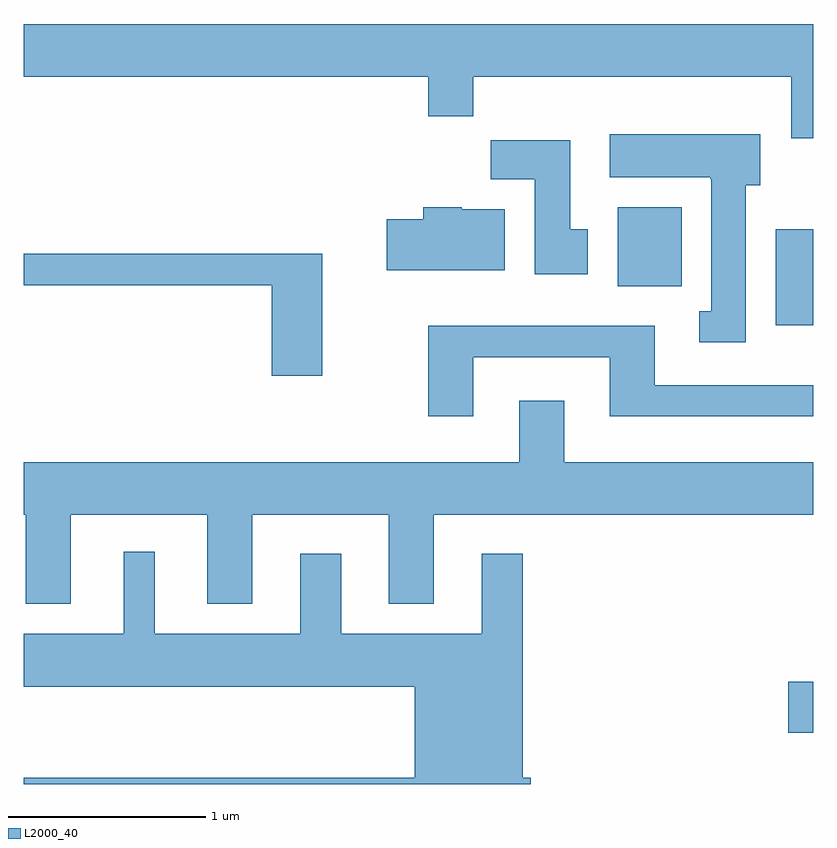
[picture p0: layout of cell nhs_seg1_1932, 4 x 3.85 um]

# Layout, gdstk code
import gdstk
lib = gdstk.Library(unit=1e-6, precision=1e-09)
def R(c, l, rs):  # rectangles x0, y0, x1, y1
    for r in rs: c.add(gdstk.rectangle(r[:2], r[2:], *l))
def P(c, l, *ps):  # polygons
    for p in ps: c.add(gdstk.Polygon(p, *l))
L2000_40 = (2000, 40)

nhs_seg1_1932 = lib.new_cell('nhs_seg1_1932')
R(nhs_seg1_1932, L2000_40, [(247.486,953.971,247.611,954.229), (247.421,956.036,247.611,956.524), (246.621,956.236,246.944,956.634)])
P(nhs_seg1_1932, L2000_40, [(247.611,957.564),(243.611,957.564),(243.611,957.296),(245.661,957.296),(245.661,957.096),(245.889,957.096),(245.889,957.296),(247.501,957.296),(247.501,956.986),(247.611,956.986)],
  [(247.269,956.746),(247.344,956.746),(247.344,957.004),(246.581,957.004),(246.581,956.786),(247.09,956.786),(247.09,956.78),(247.096,956.78),(247.096,956.109),(247.033,956.109),(247.033,955.951),(247.269,955.951)],
  [(246.469,956.524),(246.379,956.524),(246.379,956.974),(245.976,956.974),(245.976,956.776),(246.201,956.776),(246.201,956.296),(246.469,956.296)],
  [(246.049,956.624),(245.83,956.624),(245.83,956.634),(245.636,956.634),(245.636,956.574),(245.451,956.574),(245.451,956.316),(246.049,956.316)],
  [(245.124,956.399),(243.611,956.399),(243.611,956.241),(244.866,956.241),(244.866,955.781),(245.124,955.781)],
  [(245.889,955.876),(246.581,955.876),(246.581,955.576),(247.611,955.576),(247.611,955.734),(246.809,955.734),(246.809,956.034),(245.661,956.034),(245.661,955.576),(245.889,955.576)],
  [(243.849,955.076),(244.541,955.076),(244.541,954.626),(244.769,954.626),(244.769,955.076),(245.461,955.076),(245.461,954.626),(245.689,954.626),(245.689,955.076),(247.611,955.076),(247.611,955.344),(246.349,955.344),(246.349,955.654),(246.121,955.654),(246.121,955.344),(243.611,955.344),(243.611,955.076),(243.621,955.076),(243.621,954.626),(243.849,954.626)],
  [(246.179,953.744),(246.139,953.744),(246.139,954.879),(245.931,954.879),(245.931,954.474),(245.219,954.474),(245.219,954.879),(245.011,954.879),(245.011,954.474),(244.274,954.474),(244.274,954.888),(244.116,954.888),(244.116,954.474),(243.611,954.474),(243.611,954.206),(245.591,954.206),(245.591,953.744),(243.611,953.744),(243.611,953.712),(246.179,953.712)])

lib.write_gds('nhs_seg1_1932.gds')
